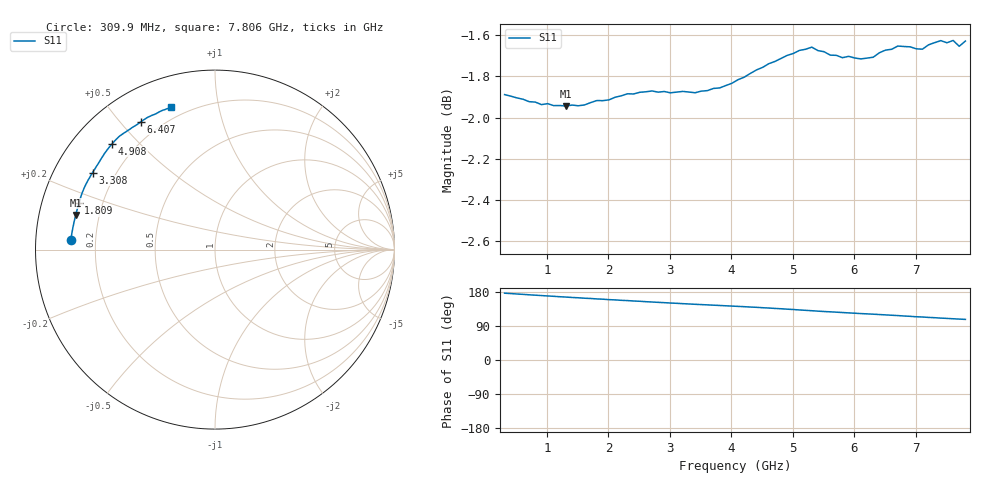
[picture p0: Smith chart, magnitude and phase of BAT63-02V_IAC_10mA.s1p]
! Infineon Technologies  Discrete & RF Semiconductors
! BAT63-02V
! IAC = 10 mA
! One-Port S-Parameters
# Hz  S  MA  R  50
!f  S11
!Hz  Mag  Ang
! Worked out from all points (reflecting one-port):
!   76 points, 309.9 MHz to 7.806 GHz, reference 50 ohm
!   lowest |S11| = -1.9 dB at 1.309 GHz (marker M1), VSWR 8.97, Z = 5.65 + j6.02 ohm
!   phase of S11 starts at 176 deg and turns -69 deg over the sweep
!   S11 on the Smith chart (normalised r, x): 309.9 MHz: 0.11, +0.03; 1.809 GHz: 0.11, +0.16; 3.308 GHz: 0.12, +0.28; 4.908 GHz: 0.11, +0.42; 6.407 GHz: 0.13, +0.57; 7.806 GHz: 0.14, +0.73
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3.0985e8  0.8046 176.3
7.0965e8  0.8014 172.0
1.30935e9  0.7995 166.1
1.8091e9  0.8019 161.2
1.90905e9  0.8019 160.5
2.009e9  0.8023 159.3
2.10895e9  0.8034 158.6
2.2089e9  0.8041 157.5
2.30885e9  0.805 156.8
2.50875e9  0.8056 155.0
2.6087e9  0.8059 153.9
3.2084e9  0.806 148.7
3.30835e9  0.8058 147.8
4.10795e9  0.8114 141.5
4.4078e9  0.8158 139.0
4.90755e9  0.8225 134.1
5.0075e9  0.8234 133.2
5.4073e9  0.8247 128.9
6.007e9  0.8213 123.4
6.4068e9  0.8237 120.0
6.70665e9  0.8268 117.3
6.90655e9  0.8264 115.3
7.0065e9  0.8255 114.1
7.10645e9  0.8253 113.5
7.2064e9  0.8273 112.4
7.30635e9  0.8284 111.7
7.4063e9  0.8293 110.5
7.8061e9  0.8291 107.2
